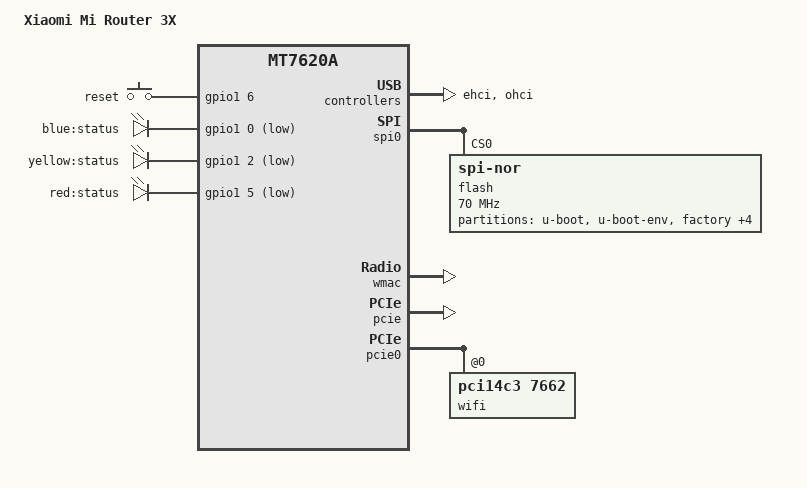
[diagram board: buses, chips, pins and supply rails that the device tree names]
/dts-v1/;

#include "mt7620a.dtsi"

#include <dt-bindings/gpio/gpio.h>
#include <dt-bindings/input/input.h>

/ {
	compatible = "xiaomi,mi-router-3x", "ralink,mt7620a-soc";
	model = "Xiaomi Mi Router 3X";

	aliases {
		led-boot = &led_status_yellow;
		led-failsafe = &led_status_red;
		led-running = &led_status_blue;
		led-upgrade = &led_status_yellow;
	};

	chosen {
		bootargs = "console=ttyS0,115200";
	};

	keys {
		compatible = "gpio-keys";

		reset {
			label = "reset";
			gpios = <&gpio1 6 GPIO_ACTIVE_HIGH>;
			linux,code = <KEY_RESTART>;
		};
	};

	leds {
		compatible = "gpio-leds";

		led_status_blue: blue {
			label = "blue:status";
			gpios = <&gpio1 0 GPIO_ACTIVE_LOW>;
			/* default-state = "on"; */
		};

		led_status_yellow: yellow {
			label = "yellow:status";
			gpios = <&gpio1 2 GPIO_ACTIVE_LOW>;
		};

		led_status_red: red {
			label = "red:status";
			gpios = <&gpio1 5 GPIO_ACTIVE_LOW>;
		};
	};
};

&gpio1 {
	status = "okay";
};

&ehci {
	status = "okay";
};

&ohci {
	status = "okay";
};

&spi0 {
	status = "okay";
	flash@0 {
		compatible = "jedec,spi-nor";
		reg = <0>;
		spi-max-frequency = <70000000>;
		m25p,fast-read;

		partitions {
			compatible = "fixed-partitions";
			#address-cells = <1>;
			#size-cells = <1>;

			partition@0 {
				label = "u-boot";
				reg = <0x0 0x30000>;
				read-only;
			};

			partition@30000 {
				label = "u-boot-env";
				reg = <0x30000 0x10000>;
			};

			factory: partition@40000 {
				label = "factory";
				reg = <0x40000 0x10000>;
				read-only;
			};

			partition@50000 {
				compatible = "denx,uimage";
				label = "firmware";
				reg = <0x50000 0xf80000>;
			};

			partition@fd0000 {
				label = "crash";
				reg = <0xfd0000 0x10000>;
			};

			partition@fe0000 {
				label = "reserved";
				reg = <0xfe0000 0x10000>;
				read-only;
			};

			partition@ff0000 {
				label = "Bdata";
				reg = <0xff0000 0x10000>;
			};
		};
	};
};

&ethernet {
	pinctrl-names = "default";
	pinctrl-0 = <&ephy_pins>;
	mtd-mac-address = <&factory 0x28>;
	mediatek,portmap = "llllw";
};

&wmac {
	ralink,mtd-eeprom = <&factory 0>;
};

&pcie {
	status = "okay";
};

&pcie0 {
	wifi@0,0 {
		compatible = "pci14c3,7662";
		reg = <0x0000 0 0 0 0>;
		mediatek,mtd-eeprom = <&factory 0x8000>;
		ieee80211-freq-limit = <5000000 6000000>;
	};
};

&pinctrl {
	state_default: pinctrl0 {
		gpio {
			groups = "rgmii1";
			function = "gpio";
		};

		pa {
			groups = "pa";
			function = "pa";
		};
	};
};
